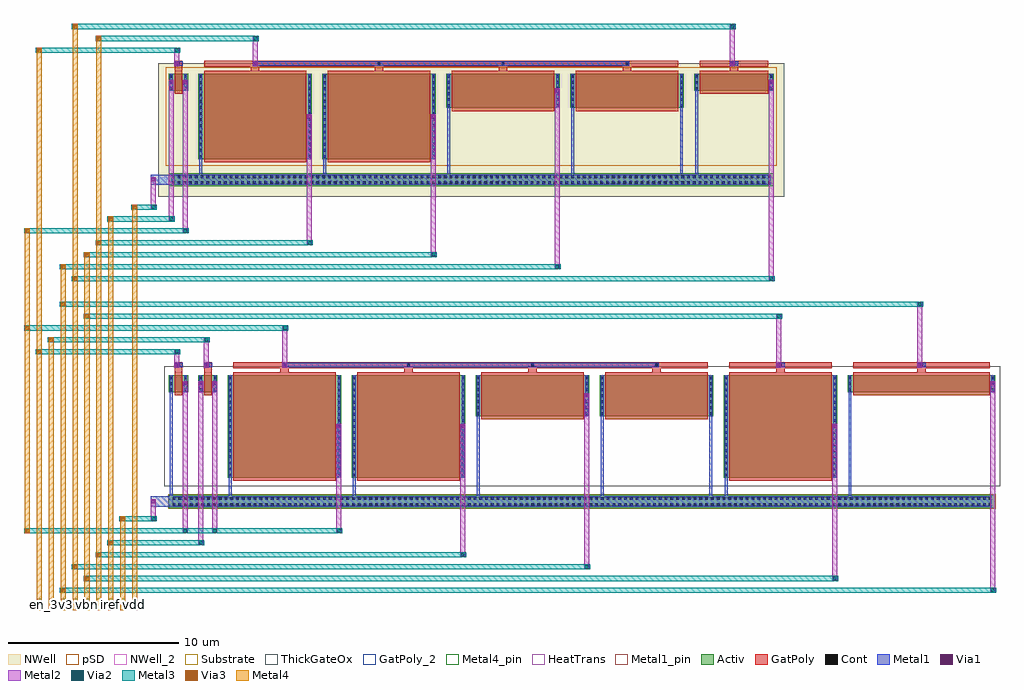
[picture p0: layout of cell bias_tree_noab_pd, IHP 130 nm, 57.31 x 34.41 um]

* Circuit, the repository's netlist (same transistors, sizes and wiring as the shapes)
** sch_path: /tmp/claude-0/-home-user-sg13cmos5l-cm-ip--single2diff2single/9625f5bb-27cd-530e-a9cf-d1aa15a8223d/scratchpad/agents/BA/work/macros/bias_tree_noab_pd/schematic/xschem/bias_tree_noab_pd.sch
.subckt bias_tree_noab_pd vdd vss iref vbp vbn vbpc vbnc en_3v3 en_3v3_b
*.PININFO vdd:B vss:B iref:B vbp:O vbn:O vbpc:O vbnc:O en_3v3:I en_3v3_b:I
MNI ni ni vss vss sg13_hv_nmos w=6u l=6u ng=1
MBPC vbpc vbpc vdd vdd sg13_hv_pmos w=1u l=4u ng=1
MNBPC vbpc ni vss vss sg13_hv_nmos w=2.4u l=6u ng=1
MBP vbp vbp vdd vdd sg13_hv_pmos w=5u l=6u ng=1
MNBP vbp ni vss vss sg13_hv_nmos w=6u l=6u ng=1
MPBNC vbnc vbp vdd vdd sg13_hv_pmos w=2u l=6u ng=1
MBNC vbnc vbnc vss vss sg13_hv_nmos w=1u l=8u ng=1
MPBN vbn vbp vdd vdd sg13_hv_pmos w=5u l=6u ng=1
MBN vbn vbn vss vss sg13_hv_nmos w=6u l=6u ng=1
MTGP ni en_3v3_b iref vdd sg13_hv_pmos w=1u l=0.45u ng=1
MTGN iref en_3v3 ni vss sg13_hv_nmos w=1u l=0.45u ng=1
MTDN ni en_3v3_b vss vss sg13_hv_nmos w=1u l=0.45u ng=1
MMDBP vdd vbp vdd vdd sg13_hv_pmos w=2u l=6u ng=1
MMDBN vss ni vss vss sg13_hv_nmos w=2.4u l=6u ng=1
.ends

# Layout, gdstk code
import gdstk
lib = gdstk.Library(unit=1e-6, precision=1e-09)
def R(c, l, rs):  # rectangles x0, y0, x1, y1
    for r in rs: c.add(gdstk.rectangle(r[:2], r[2:], *l))
def A(c, l, x, y, w, h, nx, ny, dx, dy):  # array of equal rectangles
    R(c, l, [(x+i*dx, y+j*dy, x+i*dx+w, y+j*dy+h) for i in range(nx) for j in range(ny)])
Activ = (1, 0)
GatPoly = (5, 0)
GatPoly_2 = (5, 2)
Cont = (6, 0)
Metal1 = (8, 0)
Metal1_pin = (8, 2)
Metal2 = (10, 0)
pSD = (14, 0)
Via1 = (19, 0)
Via2 = (29, 0)
Metal3 = (30, 0)
NWell = (31, 0)
NWell_2 = (31, 2)
Substrate = (40, 0)
ThickGateOx = (44, 0)
Via3 = (49, 0)
Metal4 = (50, 0)
Metal4_pin = (50, 2)
HeatTrans = (51, 0)

pmoshv = lib.new_cell('pmosHV')
R(pmoshv, Activ, [(0,0,0.3,0.3), (0,0,1.13,1), (0.83,0,1.13,0.3)])
R(pmoshv, GatPoly, [(0.34,-0.18,0.79,1.18)])
R(pmoshv, GatPoly_2, [(0.34,-0.18,0.79,1.18)])
A(pmoshv, Cont, 0.07, 0.07, 0.16, 0.16, 1, 3, 0, 0.35)
A(pmoshv, Cont, 0.9, 0.07, 0.16, 0.16, 1, 3, 0, 0.35)
R(pmoshv, Metal1, [(0.07,0,0.23,1), (0.9,0,1.06,1)])
R(pmoshv, Metal1_pin, [(0.07,0,0.23,1), (0.9,0,1.06,1)])
R(pmoshv, pSD, [(-0.18,-0.4,1.31,1.4)])
R(pmoshv, NWell, [(-0.62,-0.62,1.75,1.62)])
R(pmoshv, ThickGateOx, [(-0.62,-0.62,1.75,1.62)])
R(pmoshv, HeatTrans, [(0.34,-0.18,0.79,1.18)])
pmoshv.add(gdstk.Label('pmosHV', (0.565,0.5), layer=63, texttype=0))
pmoshv.add(gdstk.Label('pmos', (0.565,0.5), layer=51, texttype=0))

pmoshv_1 = lib.new_cell('pmosHV$1')
R(pmoshv_1, Activ, [(0,0,0.3,0.3), (0,0,6.68,5), (6.38,0,6.68,0.3)])
R(pmoshv_1, GatPoly, [(0.34,-0.18,6.34,5.18)])
R(pmoshv_1, GatPoly_2, [(0.34,-0.18,6.34,5.18)])
A(pmoshv_1, Cont, 0.07, 0.07, 0.16, 0.16, 1, 4, 0, 0.36)
A(pmoshv_1, Cont, 6.45, 0.07, 0.16, 0.16, 1, 4, 0, 0.36)
A(pmoshv_1, Cont, 0.07, 1.515, 0.16, 0.16, 1, 3, 0, 0.36)
A(pmoshv_1, Cont, 6.45, 1.515, 0.16, 0.16, 1, 3, 0, 0.36)
A(pmoshv_1, Cont, 0.07, 2.6, 0.16, 0.16, 1, 3, 0, 0.36)
A(pmoshv_1, Cont, 6.45, 2.6, 0.16, 0.16, 1, 3, 0, 0.36)
A(pmoshv_1, Cont, 0.07, 3.685, 0.16, 0.16, 1, 3, 0, 0.36)
A(pmoshv_1, Cont, 6.45, 3.685, 0.16, 0.16, 1, 3, 0, 0.36)
R(pmoshv_1, Cont, [(0.07,4.77,0.23,4.93), (6.45,4.77,6.61,4.93)])
R(pmoshv_1, Metal1, [(0.07,0,0.23,5), (6.45,0,6.61,5)])
R(pmoshv_1, Metal1_pin, [(0.07,0,0.23,5), (6.45,0,6.61,5)])
R(pmoshv_1, pSD, [(-0.18,-0.4,6.86,5.4)])
R(pmoshv_1, NWell, [(-0.62,-0.62,7.3,5.62)])
R(pmoshv_1, ThickGateOx, [(-0.62,-0.62,7.3,5.62)])
R(pmoshv_1, HeatTrans, [(0.34,-0.18,6.34,5.18)])
pmoshv_1.add(gdstk.Label('pmosHV', (3.34,2.5), layer=63, texttype=0))
pmoshv_1.add(gdstk.Label('pmos', (3.34,2.5), layer=51, texttype=0))

pmoshv_2 = lib.new_cell('pmosHV$2')
R(pmoshv_2, Activ, [(0,0,0.3,0.3), (0,0,6.68,2), (6.38,0,6.68,0.3)])
R(pmoshv_2, GatPoly, [(0.34,-0.18,6.34,2.18)])
R(pmoshv_2, GatPoly_2, [(0.34,-0.18,6.34,2.18)])
A(pmoshv_2, Cont, 0.07, 0.07, 0.16, 0.16, 1, 6, 0, 0.34)
A(pmoshv_2, Cont, 6.45, 0.07, 0.16, 0.16, 1, 6, 0, 0.34)
R(pmoshv_2, Metal1, [(0.07,0,0.23,2), (6.45,0,6.61,2)])
R(pmoshv_2, Metal1_pin, [(0.07,0,0.23,2), (6.45,0,6.61,2)])
R(pmoshv_2, pSD, [(-0.18,-0.4,6.86,2.4)])
R(pmoshv_2, NWell, [(-0.62,-0.62,7.3,2.62)])
R(pmoshv_2, ThickGateOx, [(-0.62,-0.62,7.3,2.62)])
R(pmoshv_2, HeatTrans, [(0.34,-0.18,6.34,2.18)])
pmoshv_2.add(gdstk.Label('pmosHV', (3.34,1), layer=63, texttype=0))
pmoshv_2.add(gdstk.Label('pmos', (3.34,1), layer=51, texttype=0))

pmoshv_3 = lib.new_cell('pmosHV$3')
R(pmoshv_3, Activ, [(0,0,0.3,0.3), (0,0,4.68,1), (4.38,0,4.68,0.3)])
R(pmoshv_3, GatPoly, [(0.34,-0.18,4.34,1.18)])
R(pmoshv_3, GatPoly_2, [(0.34,-0.18,4.34,1.18)])
A(pmoshv_3, Cont, 0.07, 0.07, 0.16, 0.16, 1, 3, 0, 0.35)
A(pmoshv_3, Cont, 4.45, 0.07, 0.16, 0.16, 1, 3, 0, 0.35)
R(pmoshv_3, Metal1, [(0.07,0,0.23,1), (4.45,0,4.61,1)])
R(pmoshv_3, Metal1_pin, [(0.07,0,0.23,1), (4.45,0,4.61,1)])
R(pmoshv_3, pSD, [(-0.18,-0.4,4.86,1.4)])
R(pmoshv_3, NWell, [(-0.62,-0.62,5.3,1.62)])
R(pmoshv_3, ThickGateOx, [(-0.62,-0.62,5.3,1.62)])
R(pmoshv_3, HeatTrans, [(0.34,-0.18,4.34,1.18)])
pmoshv_3.add(gdstk.Label('pmosHV', (2.34,0.5), layer=63, texttype=0))
pmoshv_3.add(gdstk.Label('pmos', (2.34,0.5), layer=51, texttype=0))

ntap1 = lib.new_cell('ntap1')
R(ntap1, Activ, [(0,0,35.53,0.78)])
A(ntap1, Cont, 0.175, 0.14, 0.16, 0.16, 104, 2, 0.34, 0.34)
R(ntap1, Metal1, [(0.175,0.09,35.355,0.69)])
R(ntap1, Metal1_pin, [(0.175,0.09,35.355,0.69), (0.175,0.14,35.355,0.64)])
R(ntap1, NWell, [(-0.24,-0.24,35.77,1.02), (0,0,35.53,0.78)])
R(ntap1, NWell_2, [(0,0,35.53,0.78)])
ntap1.add(gdstk.Label('well', (17.765,0.01), layer=31, texttype=0))
ntap1.add(gdstk.Label('well', (17.765,0.01), layer=63, texttype=0))

tree_row_p = lib.new_cell('tree_row_p')
A(tree_row_p, GatPoly, 4.82, 5, 0.5, 0.43, 4, 1, 7.28, 0)
R(tree_row_p, GatPoly, [(0.34,5,0.79,5.43), (32.94,5,33.44,5.43), (0.34,5.42,0.79,5.78), (2.07,5.42,29.91,5.78), (31.19,5.42,35.19,5.78)])
A(tree_row_p, Cont, 4.99, 5.52, 0.16, 0.16, 4, 1, 7.28, 0)
R(tree_row_p, Cont, [(0.485,5.52,0.645,5.68), (33.11,5.52,33.27,5.68)])
R(tree_row_p, Metal1, [(1.8,-1.51,31.08,-0.91), (1.8,-1.01,1.96,0.05), (9.08,-1.01,9.24,0.05), (16.36,-1.01,16.52,3.05), (23.64,-1.01,23.8,3.05), (30.02,-1.01,30.18,3.05), (30.92,-1.01,31.08,4.05), (0.315,5.47,0.815,5.73), (4.94,5.47,27.04,5.73), (32.94,5.47,33.44,5.73)])
R(tree_row_p, pSD, [(-0.18,-0.4,35.71,5.4)])
R(tree_row_p, NWell, [(-0.62,-2.22,36.15,5.62)])
R(tree_row_p, ThickGateOx, [(-0.62,-2.22,36.15,5.62)])
tree_row_p.add(gdstk.Reference(pmoshv, (0,4)))
tree_row_p.add(gdstk.Reference(pmoshv_1, (1.73,0)))
tree_row_p.add(gdstk.Reference(pmoshv_1, (9.01,0)))
tree_row_p.add(gdstk.Reference(pmoshv_2, (16.29,3)))
tree_row_p.add(gdstk.Reference(pmoshv_2, (23.57,3)))
tree_row_p.add(gdstk.Reference(pmoshv_3, (30.85,4)))
tree_row_p.add(gdstk.Reference(ntap1, (0,-1.6)))
tree_row_p.add(gdstk.Label('TGP', (0,4.5), layer=63, texttype=0))
tree_row_p.add(gdstk.Label('BP', (1.73,2.5), layer=63, texttype=0))
tree_row_p.add(gdstk.Label('PBN', (9.01,2.5), layer=63, texttype=0))
tree_row_p.add(gdstk.Label('PBNC', (16.29,4), layer=63, texttype=0))
tree_row_p.add(gdstk.Label('MDBP', (23.57,4), layer=63, texttype=0))
tree_row_p.add(gdstk.Label('BPC', (30.85,4.5), layer=63, texttype=0))

nmoshv = lib.new_cell('nmosHV')
R(nmoshv, Activ, [(0,0,0.3,0.3), (0,0,1.13,1), (0.83,0,1.13,0.3)])
R(nmoshv, GatPoly, [(0.34,-0.18,0.79,1.18)])
R(nmoshv, GatPoly_2, [(0.34,-0.18,0.79,1.18)])
A(nmoshv, Cont, 0.07, 0.07, 0.16, 0.16, 1, 3, 0, 0.35)
A(nmoshv, Cont, 0.9, 0.07, 0.16, 0.16, 1, 3, 0, 0.35)
R(nmoshv, Metal1, [(0.07,0,0.23,1), (0.9,0,1.06,1)])
R(nmoshv, Metal1_pin, [(0.07,0,0.23,1), (0.9,0,1.06,1)])
R(nmoshv, ThickGateOx, [(-0.27,-0.52,1.4,1.52)])
R(nmoshv, HeatTrans, [(0.34,-0.18,0.79,1.18)])
nmoshv.add(gdstk.Label('nmosHV', (0.565,0.5), layer=63, texttype=0))
nmoshv.add(gdstk.Label('nmosHV', (0.565,0.5), layer=51, texttype=0))

nmoshv_1 = lib.new_cell('nmosHV$1')
R(nmoshv_1, Activ, [(0,0,0.3,0.3), (0,0,6.68,6), (6.38,0,6.68,0.3)])
R(nmoshv_1, GatPoly, [(0.34,-0.18,6.34,6.18)])
R(nmoshv_1, GatPoly_2, [(0.34,-0.18,6.34,6.18)])
A(nmoshv_1, Cont, 0.07, 0.07, 0.16, 0.16, 1, 4, 0, 0.355)
A(nmoshv_1, Cont, 6.45, 0.07, 0.16, 0.16, 1, 4, 0, 0.355)
A(nmoshv_1, Cont, 0.07, 1.495, 0.16, 0.16, 1, 4, 0, 0.355)
A(nmoshv_1, Cont, 6.45, 1.495, 0.16, 0.16, 1, 4, 0, 0.355)
A(nmoshv_1, Cont, 0.07, 2.92, 0.16, 0.16, 1, 4, 0, 0.355)
A(nmoshv_1, Cont, 6.45, 2.92, 0.16, 0.16, 1, 4, 0, 0.355)
A(nmoshv_1, Cont, 0.07, 4.345, 0.16, 0.16, 1, 4, 0, 0.355)
A(nmoshv_1, Cont, 6.45, 4.345, 0.16, 0.16, 1, 4, 0, 0.355)
R(nmoshv_1, Cont, [(0.07,5.77,0.23,5.93), (6.45,5.77,6.61,5.93)])
R(nmoshv_1, Metal1, [(0.07,0,0.23,6), (6.45,0,6.61,6)])
R(nmoshv_1, Metal1_pin, [(0.07,0,0.23,6), (6.45,0,6.61,6)])
R(nmoshv_1, ThickGateOx, [(-0.27,-0.52,6.95,6.52)])
R(nmoshv_1, HeatTrans, [(0.34,-0.18,6.34,6.18)])
nmoshv_1.add(gdstk.Label('nmosHV', (3.34,3), layer=63, texttype=0))
nmoshv_1.add(gdstk.Label('nmosHV', (3.34,3), layer=51, texttype=0))

nmoshv_2 = lib.new_cell('nmosHV$2')
R(nmoshv_2, Activ, [(0,0,0.3,0.3), (0,0,6.68,2.4), (6.38,0,6.68,0.3)])
R(nmoshv_2, GatPoly, [(0.34,-0.18,6.34,2.58)])
R(nmoshv_2, GatPoly_2, [(0.34,-0.18,6.34,2.58)])
A(nmoshv_2, Cont, 0.07, 0.07, 0.16, 0.16, 1, 7, 0, 0.35)
A(nmoshv_2, Cont, 6.45, 0.07, 0.16, 0.16, 1, 7, 0, 0.35)
R(nmoshv_2, Metal1, [(0.07,0,0.23,2.4), (6.45,0,6.61,2.4)])
R(nmoshv_2, Metal1_pin, [(0.07,0,0.23,2.4), (6.45,0,6.61,2.4)])
R(nmoshv_2, ThickGateOx, [(-0.27,-0.52,6.95,2.92)])
R(nmoshv_2, HeatTrans, [(0.34,-0.18,6.34,2.58)])
nmoshv_2.add(gdstk.Label('nmosHV', (3.34,1.2), layer=63, texttype=0))
nmoshv_2.add(gdstk.Label('nmosHV', (3.34,1.2), layer=51, texttype=0))

nmoshv_3 = lib.new_cell('nmosHV$3')
R(nmoshv_3, Activ, [(0,0,0.3,0.3), (0,0,8.68,1), (8.38,0,8.68,0.3)])
R(nmoshv_3, GatPoly, [(0.34,-0.18,8.34,1.18)])
R(nmoshv_3, GatPoly_2, [(0.34,-0.18,8.34,1.18)])
A(nmoshv_3, Cont, 0.07, 0.07, 0.16, 0.16, 1, 3, 0, 0.35)
A(nmoshv_3, Cont, 8.45, 0.07, 0.16, 0.16, 1, 3, 0, 0.35)
R(nmoshv_3, Metal1, [(0.07,0,0.23,1), (8.45,0,8.61,1)])
R(nmoshv_3, Metal1_pin, [(0.07,0,0.23,1), (8.45,0,8.61,1)])
R(nmoshv_3, ThickGateOx, [(-0.27,-0.52,8.95,1.52)])
R(nmoshv_3, HeatTrans, [(0.34,-0.18,8.34,1.18)])
nmoshv_3.add(gdstk.Label('nmosHV', (4.34,0.5), layer=63, texttype=0))
nmoshv_3.add(gdstk.Label('nmosHV', (4.34,0.5), layer=51, texttype=0))

ptap1 = lib.new_cell('ptap1')
R(ptap1, Activ, [(0,0,48.54,0.78)])
A(ptap1, Cont, 0.22, 0.14, 0.16, 0.16, 142, 2, 0.34, 0.34)
R(ptap1, Metal1, [(0.22,0.09,48.32,0.69), (0.22,0.14,48.32,0.64)])
R(ptap1, Metal1_pin, [(0.22,0.14,48.32,0.64)])
R(ptap1, pSD, [(-0.03,-0.03,48.57,0.81)])
R(ptap1, Substrate, [(0,0,48.54,0.78)])
ptap1.add(gdstk.Label('sub!', (24.27,0.01), layer=63, texttype=0))
ptap1.add(gdstk.Label('sub!', (24.27,0.01), layer=40, texttype=0))

tree_row_n = lib.new_cell('tree_row_n')
A(tree_row_n, GatPoly, 6.55, 6, 0.5, 0.43, 5, 1, 7.28, 0)
R(tree_row_n, GatPoly, [(0.34,6,0.79,6.43), (2.07,6,2.52,6.43), (43.95,6,44.45,6.43), (0.34,6.42,0.79,6.78), (2.07,6.42,2.52,6.78), (3.8,6.42,31.64,6.78), (32.92,6.42,38.92,6.78), (40.2,6.42,48.2,6.78)])
A(tree_row_n, Cont, 6.72, 6.52, 0.16, 0.16, 5, 1, 7.28, 0)
R(tree_row_n, Cont, [(0.485,6.52,0.645,6.68), (2.215,6.52,2.375,6.68), (44.12,6.52,44.28,6.68)])
R(tree_row_n, Metal1, [(0.07,-1.71,40.09,-1.11), (0.07,-1.21,0.23,5.05), (3.53,-1.21,3.69,0.05), (10.81,-1.21,10.97,0.05), (18.09,-1.21,18.25,3.65), (25.37,-1.21,25.53,3.65), (31.75,-1.21,31.91,3.65), (32.65,-1.21,32.81,0.05), (39.93,-1.21,40.09,5.05), (0.315,6.47,0.815,6.73), (2.045,6.47,2.545,6.73), (6.67,6.47,28.77,6.73), (35.67,6.47,36.17,6.73), (43.95,6.47,44.45,6.73)])
R(tree_row_n, ThickGateOx, [(-0.27,-0.52,48.81,6.52)])
tree_row_n.add(gdstk.Reference(nmoshv, (0,5)))
tree_row_n.add(gdstk.Reference(nmoshv, (1.73,5)))
tree_row_n.add(gdstk.Reference(nmoshv_1, (3.46,0)))
tree_row_n.add(gdstk.Reference(nmoshv_1, (10.74,0)))
tree_row_n.add(gdstk.Reference(nmoshv_2, (18.02,3.6)))
tree_row_n.add(gdstk.Reference(nmoshv_2, (25.3,3.6)))
tree_row_n.add(gdstk.Reference(nmoshv_1, (32.58,0)))
tree_row_n.add(gdstk.Reference(nmoshv_3, (39.86,5)))
tree_row_n.add(gdstk.Reference(ptap1, (0,-1.8)))
tree_row_n.add(gdstk.Label('TDN', (0,5.5), layer=63, texttype=0))
tree_row_n.add(gdstk.Label('TGN', (1.73,5.5), layer=63, texttype=0))
tree_row_n.add(gdstk.Label('NI', (3.46,3), layer=63, texttype=0))
tree_row_n.add(gdstk.Label('NBP', (10.74,3), layer=63, texttype=0))
tree_row_n.add(gdstk.Label('NBPC', (18.02,4.8), layer=63, texttype=0))
tree_row_n.add(gdstk.Label('MDBN', (25.3,4.8), layer=63, texttype=0))
tree_row_n.add(gdstk.Label('BN', (32.58,3), layer=63, texttype=0))
tree_row_n.add(gdstk.Label('BNC', (39.86,5.5), layer=63, texttype=0))

bias_tree_noab_pd = lib.new_cell('bias_tree_noab_pd')
R(bias_tree_noab_pd, Metal1, [(-1.045,-28.19,1,-27.59), (-1.045,-28.035,-0.755,-27.745), (9.845,-23.625,10.135,-23.335), (17.125,-23.625,17.415,-23.335), (38.965,-23.625,39.255,-23.335), (24.405,-21.825,24.695,-21.535), (0.835,-21.125,1.125,-20.835), (1.735,-21.125,2.025,-20.835), (2.565,-21.125,2.855,-20.835), (48.245,-21.125,48.535,-20.835), (0.32,-20.025,0.61,-19.735), (2.05,-20.025,2.34,-19.735), (6.675,-20.025,6.965,-19.735), (35.675,-20.025,35.965,-19.735), (43.955,-20.025,44.245,-19.735), (-1.045,-9.29,1,-8.69), (-1.045,-9.135,-0.755,-8.845), (8.115,-5.425,8.405,-5.135), (15.395,-5.425,15.685,-5.135), (22.675,-3.925,22.965,-3.635), (0.005,-3.425,0.295,-3.135), (0.835,-3.425,1.125,-3.135), (35.235,-3.425,35.525,-3.135), (0.32,-2.325,0.61,-2.035), (4.945,-2.325,5.235,-2.035), (32.945,-2.325,33.235,-2.035)])
R(bias_tree_noab_pd, Metal2, [(48.245,-33.255,48.535,-20.835), (38.965,-32.555,39.255,-23.335), (24.405,-31.855,24.695,-21.535), (17.125,-31.155,17.415,-23.335), (1.735,-30.455,2.025,-20.835), (0.835,-29.755,1.125,-20.835), (2.565,-29.755,2.855,-20.835), (9.845,-29.755,10.135,-23.335), (-1.045,-29.055,-0.755,-27.745), (0.32,-20.025,0.61,-18.955), (2.05,-20.025,2.34,-18.255), (6.675,-20.025,6.965,-17.555), (35.675,-20.025,35.965,-16.855), (43.955,-20.025,44.245,-16.155), (35.235,-14.945,35.525,-3.135), (22.675,-14.245,22.965,-3.635), (15.395,-13.545,15.685,-5.135), (8.115,-12.845,8.405,-5.135), (0.835,-12.145,1.125,-3.135), (0.005,-11.445,0.295,-3.135), (-1.045,-10.745,-0.755,-8.845), (0.32,-2.325,0.61,-1.255), (4.945,-2.325,5.235,-0.555), (32.945,-2.325,33.235,0.145)])
R(bias_tree_noab_pd, Via1, [(-0.995,-27.985,-0.805,-27.795), (9.895,-23.575,10.085,-23.385), (17.175,-23.575,17.365,-23.385), (39.015,-23.575,39.205,-23.385), (24.455,-21.775,24.645,-21.585), (0.885,-21.075,1.075,-20.885), (1.785,-21.075,1.975,-20.885), (2.615,-21.075,2.805,-20.885), (48.295,-21.075,48.485,-20.885), (0.37,-19.975,0.56,-19.785), (2.1,-19.975,2.29,-19.785), (6.725,-19.975,6.915,-19.785), (35.725,-19.975,35.915,-19.785), (44.005,-19.975,44.195,-19.785), (-0.995,-9.085,-0.805,-8.895), (8.165,-5.375,8.355,-5.185), (15.445,-5.375,15.635,-5.185), (22.725,-3.875,22.915,-3.685), (0.055,-3.375,0.245,-3.185), (0.885,-3.375,1.075,-3.185), (35.285,-3.375,35.475,-3.185), (0.37,-2.275,0.56,-2.085), (4.995,-2.275,5.185,-2.085), (32.995,-2.275,33.185,-2.085)])
R(bias_tree_noab_pd, Via2, [(48.295,-33.205,48.485,-33.015), (39.015,-32.505,39.205,-32.315), (24.455,-31.805,24.645,-31.615), (17.175,-31.105,17.365,-30.915), (1.785,-30.405,1.975,-30.215), (0.885,-29.705,1.075,-29.515), (2.615,-29.705,2.805,-29.515), (9.895,-29.705,10.085,-29.515), (-0.995,-29.005,-0.805,-28.815), (0.37,-19.195,0.56,-19.005), (2.1,-18.495,2.29,-18.305), (6.725,-17.795,6.915,-17.605), (35.725,-17.095,35.915,-16.905), (44.005,-16.395,44.195,-16.205), (35.285,-14.895,35.475,-14.705), (22.725,-14.195,22.915,-14.005), (15.445,-13.495,15.635,-13.305), (8.165,-12.795,8.355,-12.605), (0.885,-12.095,1.075,-11.905), (0.055,-11.395,0.245,-11.205), (-0.995,-10.695,-0.805,-10.505), (0.37,-1.495,0.56,-1.305), (4.995,-0.795,5.185,-0.605), (32.995,-0.095,33.185,0.095)])
R(bias_tree_noab_pd, Metal3, [(-6.4,-33.26,48.59,-32.96), (-5,-32.56,39.31,-32.26), (-5.7,-31.86,24.75,-31.56), (-4.3,-31.16,17.47,-30.86), (-3.6,-30.46,2.08,-30.16), (-8.5,-29.76,10.19,-29.46), (-2.9,-29.06,-0.7,-28.76), (-7.8,-19.25,0.665,-18.95), (-7.1,-18.55,2.395,-18.25), (-8.5,-17.85,7.02,-17.55), (-5,-17.15,36.02,-16.85), (-6.4,-16.45,44.3,-16.15), (-5.7,-14.95,35.58,-14.65), (-6.4,-14.25,23.02,-13.95), (-5,-13.55,15.74,-13.25), (-4.3,-12.85,8.46,-12.55), (-8.5,-12.15,1.18,-11.85), (-3.6,-11.45,0.35,-11.15), (-2.2,-10.75,-0.7,-10.45), (-7.8,-1.55,0.665,-1.25), (-4.3,-0.85,5.29,-0.55), (-5.7,-0.15,33.29,0.15)])
R(bias_tree_noab_pd, Via3, [(-6.295,-33.205,-6.105,-33.015), (-4.895,-32.505,-4.705,-32.315), (-5.595,-31.805,-5.405,-31.615), (-4.195,-31.105,-4.005,-30.915), (-3.495,-30.405,-3.305,-30.215), (-8.395,-29.705,-8.205,-29.515), (-2.795,-29.005,-2.605,-28.815), (-7.695,-19.195,-7.505,-19.005), (-6.995,-18.495,-6.805,-18.305), (-8.395,-17.795,-8.205,-17.605), (-4.895,-17.095,-4.705,-16.905), (-6.295,-16.395,-6.105,-16.205), (-5.595,-14.895,-5.405,-14.705), (-6.295,-14.195,-6.105,-14.005), (-4.895,-13.495,-4.705,-13.305), (-4.195,-12.795,-4.005,-12.605), (-8.395,-12.095,-8.205,-11.905), (-3.495,-11.395,-3.305,-11.205), (-2.095,-10.695,-1.905,-10.505), (-7.695,-1.495,-7.505,-1.305), (-4.195,-0.795,-4.005,-0.605), (-5.595,-0.095,-5.405,0.095)])
R(bias_tree_noab_pd, Metal4, [(-7.75,-34.26,-7.45,-1.25), (-7.05,-34.26,-6.75,-18.25), (-6.35,-34.26,-6.05,-13.95), (-5.65,-34.26,-5.35,0.15), (-4.95,-34.26,-4.65,-13.25), (-4.25,-34.26,-3.95,-0.55), (-3.55,-34.26,-3.25,-11.15), (-2.85,-34.26,-2.55,-28.76), (-2.15,-34.26,-1.85,-10.45), (-8.45,-29.76,-8.15,-11.85)])
A(bias_tree_noab_pd, Metal4_pin, -7.75, -34.26, 0.3, 0.65, 9, 1, 0.7, 0)
bias_tree_noab_pd.add(gdstk.Reference(tree_row_p, (0,-7.78)))
bias_tree_noab_pd.add(gdstk.Reference(tree_row_n, (0,-26.48)))
bias_tree_noab_pd.add(gdstk.Label('vdd', (-2,-33.91), layer=50, texttype=25))
bias_tree_noab_pd.add(gdstk.Label('vss', (-2.7,-33.91), layer=50, texttype=25))
bias_tree_noab_pd.add(gdstk.Label('iref', (-3.4,-33.91), layer=50, texttype=25))
bias_tree_noab_pd.add(gdstk.Label('vbp', (-4.1,-33.91), layer=50, texttype=25))
bias_tree_noab_pd.add(gdstk.Label('vbn', (-4.8,-33.91), layer=50, texttype=25))
bias_tree_noab_pd.add(gdstk.Label('vbpc', (-5.5,-33.91), layer=50, texttype=25))
bias_tree_noab_pd.add(gdstk.Label('vbnc', (-6.2,-33.91), layer=50, texttype=25))
bias_tree_noab_pd.add(gdstk.Label('en_3v3', (-6.9,-33.91), layer=50, texttype=25))
bias_tree_noab_pd.add(gdstk.Label('en_3v3_b', (-7.6,-33.91), layer=50, texttype=25))

lib.write_gds('bias_tree_noab_pd.gds')
